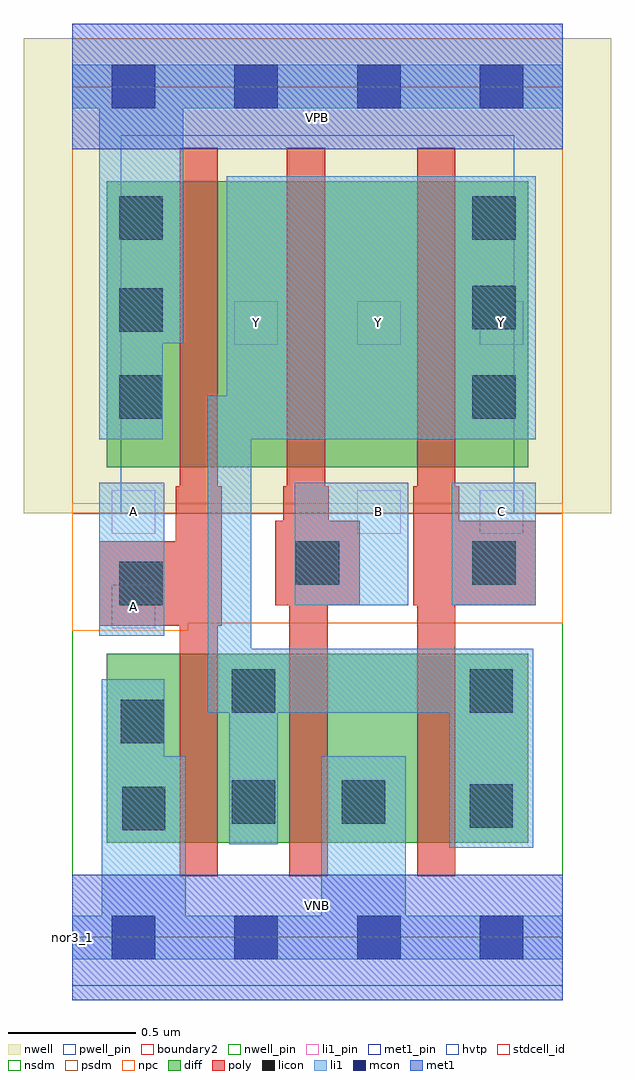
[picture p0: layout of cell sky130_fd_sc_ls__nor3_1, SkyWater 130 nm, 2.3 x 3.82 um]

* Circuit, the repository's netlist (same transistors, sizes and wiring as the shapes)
* Copyright 2020 The SkyWater PDK Authors
*
* Licensed under the Apache License, Version 2.0 (the "License");
* you may not use this file except in compliance with the License.
* You may obtain a copy of the License at
*
*     https://www.apache.org/licenses/LICENSE-2.0
*
* Unless required by applicable law or agreed to in writing, software
* distributed under the License is distributed on an "AS IS" BASIS,
* WITHOUT WARRANTIES OR CONDITIONS OF ANY KIND, either express or implied.
* See the License for the specific language governing permissions and
* limitations under the License.
*
* SPDX-License-Identifier: Apache-2.0

.SUBCKT sky130_fd_sc_ls__nor3_1 A B C VGND VNB VPB VPWR Y
*.PININFO A:I B:I C:I VGND:I VNB:I VPB:I VPWR:I Y:O
MMP0 VPWR A sndPA VPB sky130_fd_pr__pfet_01v8_hvt m=1 w=1.12U l=0.15U mult=1 sa=0.265
+ sb=0.265 sd=0.28 area=0.063 perim=1.14
MMP1 sndPA B sndPB VPB sky130_fd_pr__pfet_01v8_hvt m=1 w=1.12U l=0.15U mult=1 sa=0.265
+ sb=0.265 sd=0.28 area=0.063 perim=1.14
MMP2 sndPB C Y VPB sky130_fd_pr__pfet_01v8_hvt m=1 w=1.12U l=0.15U mult=1 sa=0.265
+ sb=0.265 sd=0.28 area=0.063 perim=1.14
MMN0 Y A VGND VNB sky130_fd_pr__nfet_01v8 m=1 w=0.74U l=0.15U mult=1 sa=0.265 sb=0.265
+ sd=0.28 area=0.063 perim=1.14
MMN1 Y B VGND VNB sky130_fd_pr__nfet_01v8 m=1 w=0.74U l=0.15U mult=1 sa=0.265 sb=0.265
+ sd=0.28 area=0.063 perim=1.14
MMN2 Y C VGND VNB sky130_fd_pr__nfet_01v8 m=1 w=0.74U l=0.15U mult=1 sa=0.265 sb=0.265
+ sd=0.28 area=0.063 perim=1.14
.ENDS sky130_fd_sc_ls__nor3_1

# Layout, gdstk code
import gdstk
lib = gdstk.Library(unit=1e-6, precision=1e-09)
def R(c, l, rs):  # rectangles x0, y0, x1, y1
    for r in rs: c.add(gdstk.rectangle(r[:2], r[2:], *l))
def A(c, l, x, y, w, h, nx, ny, dx, dy):  # array of equal rectangles
    R(c, l, [(x+i*dx, y+j*dy, x+i*dx+w, y+j*dy+h) for i in range(nx) for j in range(ny)])
def P(c, l, *ps):  # polygons
    for p in ps: c.add(gdstk.Polygon(p, *l))
nwell_pin = (64, 16)
nwell = (64, 20)
diff = (65, 20)
poly = (66, 20)
licon = (66, 44)
li1_pin = (67, 16)
li1 = (67, 20)
mcon = (67, 44)
met1_pin = (68, 16)
met1 = (68, 20)
hvtp = (78, 44)
stdcell_id = (81, 4)
nsdm = (93, 44)
psdm = (94, 20)
npc = (95, 20)
pwell_pin = (122, 16)
boundary2 = (236, 0)

sky130_fd_sc_ls__nor3_1 = lib.new_cell('sky130_fd_sc_ls__nor3_1')
R(sky130_fd_sc_ls__nor3_1, nwell_pin, [(0,3.085,1.92,3.33)])
R(sky130_fd_sc_ls__nor3_1, nwell, [(-0.19,1.66,2.11,3.52)])
R(sky130_fd_sc_ls__nor3_1, diff, [(0.135,0.37,1.785,1.11), (0.135,1.84,1.785,2.96)])
P(sky130_fd_sc_ls__nor3_1, poly, [(1.815,1.63),(1.515,1.63),(1.515,1.765),(1.5,1.765),(1.5,3.09),(1.35,3.09),(1.35,1.765),(1.335,1.765),(1.335,1.3),(1.35,1.3),(1.35,0.24),(1.5,0.24),(1.5,1.3),(1.815,1.3)],
  [(1.125,1.63),(1.005,1.63),(1.005,1.765),(0.99,1.765),(0.99,3.09),(0.84,3.09),(0.84,1.765),(0.825,1.765),(0.825,1.63),(0.795,1.63),(0.795,1.3),(0.85,1.3),(0.85,0.24),(1,0.24),(1,1.3),(1.125,1.3)],
  [(0.585,1.765),(0.57,1.765),(0.57,3.09),(0.42,3.09),(0.42,1.765),(0.405,1.765),(0.405,1.55),(0.105,1.55),(0.105,1.22),(0.42,1.22),(0.42,0.24),(0.57,0.24),(0.57,1.22),(0.585,1.22)])
A(sky130_fd_sc_ls__nor3_1, licon, 1.565, 2.03, 0.17, 0.17, 1, 3, 0, 0.35)
R(sky130_fd_sc_ls__nor3_1, licon, [(0.195,0.42,0.365,0.59), (1.555,0.43,1.725,0.6), (0.625,0.445,0.795,0.615), (1.055,0.445,1.225,0.615), (0.19,0.76,0.36,0.93), (0.625,0.88,0.795,1.05), (1.555,0.88,1.725,1.05), (0.185,1.3,0.355,1.47), (0.875,1.38,1.045,1.55), (1.565,1.38,1.735,1.55), (0.185,2.03,0.355,2.2), (0.185,2.37,0.355,2.54), (0.185,2.73,0.355,2.9)])
A(sky130_fd_sc_ls__nor3_1, li1_pin, 0.635, 2.32, 0.17, 0.17, 3, 1, 0.48, 0)
R(sky130_fd_sc_ls__nor3_1, li1_pin, [(0.155,1.21,0.325,1.38), (0.155,1.58,0.325,1.75), (1.115,1.58,1.285,1.75), (1.595,1.58,1.765,1.75)])
R(sky130_fd_sc_ls__nor3_1, li1, [(0.105,1.18,0.36,1.78), (0.87,1.3,1.315,1.78), (1.485,1.3,1.815,1.78)])
P(sky130_fd_sc_ls__nor3_1, li1, [(1.815,2.98),(0.605,2.98),(0.605,2.12),(0.53,2.12),(0.53,0.88),(0.615,0.88),(0.615,0.365),(0.805,0.365),(0.805,0.88),(1.475,0.88),(1.475,0.35),(1.805,0.35),(1.805,1.13),(0.7,1.13),(0.7,1.95),(1.815,1.95)],
  [(1.92,3.415),(0,3.415),(0,3.245),(0.105,3.245),(0.105,1.95),(0.355,1.95),(0.355,2.325),(0.435,2.325),(0.435,3.245),(1.92,3.245)],
  [(1.92,0.085),(1.305,0.085),(1.305,0.71),(0.975,0.71),(0.975,0.085),(0.445,0.085),(0.445,0.71),(0.36,0.71),(0.36,1.01),(0.115,1.01),(0.115,0.085),(0,0.085),(0,-0.085),(1.92,-0.085)])
A(sky130_fd_sc_ls__nor3_1, mcon, 0.155, -0.085, 0.17, 0.17, 4, 2, 0.48, 3.33)
R(sky130_fd_sc_ls__nor3_1, met1_pin, [(0,0,1.92,0.245), (0,3.085,1.92,3.33)])
R(sky130_fd_sc_ls__nor3_1, met1, [(0,-0.245,1.92,0.245), (0,3.085,1.92,3.575)])
R(sky130_fd_sc_ls__nor3_1, hvtp, [(0.19,1.66,1.73,3.14)])
R(sky130_fd_sc_ls__nor3_1, stdcell_id, [(0,0,1.92,3.33)])
R(sky130_fd_sc_ls__nor3_1, nsdm, [(0,-0.19,1.92,1.66)])
R(sky130_fd_sc_ls__nor3_1, psdm, [(0,1.66,1.92,3.52)])
P(sky130_fd_sc_ls__nor3_1, npc, [(1.92,1.7),(0,1.7),(0,1.2),(0.455,1.2),(0.455,1.23),(1.92,1.23)])
R(sky130_fd_sc_ls__nor3_1, pwell_pin, [(0,0,1.92,0.245)])
R(sky130_fd_sc_ls__nor3_1, boundary2, [(0,0,1.92,3.33)])
sky130_fd_sc_ls__nor3_1.add(gdstk.Label('nor3_1', (0,0), layer=83, texttype=44))
sky130_fd_sc_ls__nor3_1.add(gdstk.Label('VNB', (0.96,0.123), layer=64, texttype=59))
sky130_fd_sc_ls__nor3_1.add(gdstk.Label('VPB', (0.96,3.208), layer=64, texttype=5))
sky130_fd_sc_ls__nor3_1.add(gdstk.Label('VPWR', (0.96,3.208), layer=68, texttype=5))
sky130_fd_sc_ls__nor3_1.add(gdstk.Label('VGND', (0.96,0.123), layer=68, texttype=5))
sky130_fd_sc_ls__nor3_1.add(gdstk.Label('Y', (0.72,2.405), layer=67, texttype=5))
sky130_fd_sc_ls__nor3_1.add(gdstk.Label('Y', (1.2,2.405), layer=67, texttype=5))
sky130_fd_sc_ls__nor3_1.add(gdstk.Label('Y', (1.68,2.405), layer=67, texttype=5))
sky130_fd_sc_ls__nor3_1.add(gdstk.Label('C', (1.68,1.665), layer=67, texttype=5))
sky130_fd_sc_ls__nor3_1.add(gdstk.Label('B', (1.2,1.665), layer=67, texttype=5))
sky130_fd_sc_ls__nor3_1.add(gdstk.Label('A', (0.24,1.295), layer=67, texttype=5))
sky130_fd_sc_ls__nor3_1.add(gdstk.Label('A', (0.24,1.665), layer=67, texttype=5))

lib.write_gds('sky130_fd_sc_ls__nor3_1.gds')
